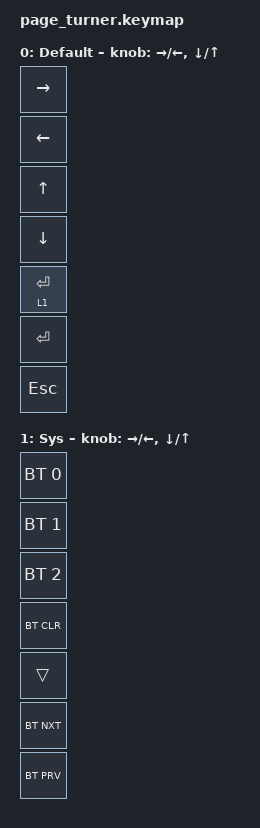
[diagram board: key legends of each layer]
/*
 * Page Turner — ZMK Keymap
 * Target: Kobo Clara / x4 via Bluetooth (appears as BT keyboard)
 *
 * LAYERS
 *   0 — DEFAULT  : standard page turning + navigation
 *   1 — SYS      : BT pairing / clear (hold BTN5 to momentarily activate)
 *
 * KEY INDEX MAP (matches overlay kscan input-gpios order)
 *   0 = BTN1 (D0) — Next Page
 *   1 = BTN2 (D1) — Prev Page
 *   2 = BTN3 (D2) — Up
 *   3 = BTN4 (D3) — Down
 *   4 = BTN5 (D4) — Select / Layer-tap (hold = SYS layer)
 *   5 = ENC1 SW   — Encoder 1 click
 *   6 = ENC2 SW   — Encoder 2 click
 *
 * ENCODER MAP
 *   ENC1 CW / CCW → next / prev page  (same as buttons, feel comparison)
 *   ENC2 CW / CCW → scroll down / up  (for menus / long pages)
 *
 * KOBO KEY REFERENCE
 *   Next page : RIGHT arrow  (or Page Down on some firmware)
 *   Prev page : LEFT arrow   (or Page Up)
 *   Menu open : UP / tap top of screen
 *   Back      : ESC
 *   Select    : ENTER
 *   Brightness: No standard key — future layer / long-press combo
 */

#include <behaviors.dtsi>
#include <dt-bindings/zmk/keys.h>
#include <dt-bindings/zmk/bt.h>

/ {
    behaviors {
        /* Layer-tap: tap = ENTER, hold = SYS layer */
        lt_sys: layer_tap_sys {
            compatible = "zmk,behavior-hold-tap";
            label = "LT_SYS";
            #binding-cells = <2>;
            flavor = "tap-preferred";
            tapping-term-ms = <200>;
            bindings = <&mo>, <&kp>;
        };
    };

    keymap {
        compatible = "zmk,keymap";

        /* ── Layer 0 — DEFAULT ─────────────────────────────────── */
        default_layer {
            label = "Default";
            bindings = <
                &kp RIGHT           /* BTN1 — Next page      */
                &kp LEFT            /* BTN2 — Prev page      */
                &kp UP              /* BTN3 — Up (menus)     */
                &kp DOWN            /* BTN4 — Down (menus)   */
                &lt_sys 1 ENTER     /* BTN5 — Select / SYS   */
                &kp ENTER           /* ENC1 SW — Enter       */
                &kp ESC             /* ENC2 SW — Back / Esc  */
            >;

            sensor-bindings = <
                &inc_dec_kp RIGHT LEFT   /* ENC1 CW=Next, CCW=Prev page */
                &inc_dec_kp DOWN UP      /* ENC2 CW=Down, CCW=Up scroll */
            >;
        };

        /* ── Layer 1 — SYS (BT management) ────────────────────── */
        /*
         * Activate by holding BTN5.
         * While held:
         *   BTN1 = connect profile 1 (your Kobo)
         *   BTN2 = connect profile 2 (spare device)
         *   BTN3 = connect profile 3
         *   BTN4 = clear current BT profile (use when re-pairing)
         *   BTN5 = (hold, transparent)
         *   ENC1 SW = BT next profile
         *   ENC2 SW = BT prev profile
         */
        sys_layer {
            label = "Sys";
            bindings = <
                &bt BT_SEL 0        /* BTN1 — Profile 0 (Kobo) */
                &bt BT_SEL 1        /* BTN2 — Profile 1        */
                &bt BT_SEL 2        /* BTN3 — Profile 2        */
                &bt BT_CLR          /* BTN4 — Clear/unpair     */
                &trans              /* BTN5 — (held, pass-thru)*/
                &bt BT_NXT          /* ENC1 SW — Next profile  */
                &bt BT_PRV          /* ENC2 SW — Prev profile  */
            >;

            sensor-bindings = <
                &inc_dec_kp RIGHT LEFT
                &inc_dec_kp DOWN UP
            >;
        };
    };
};
